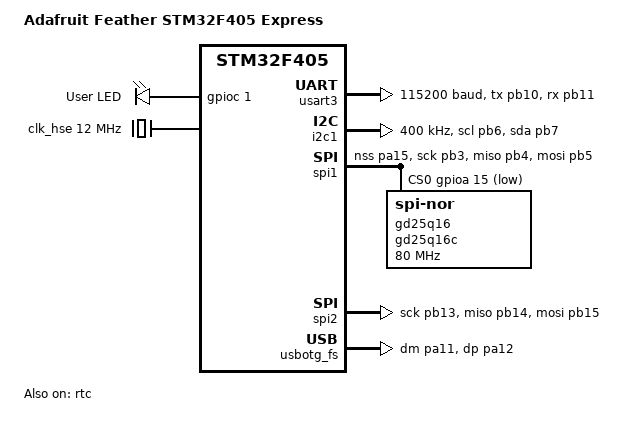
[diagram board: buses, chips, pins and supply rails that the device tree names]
/*
 * Copyright (c) 2020 Lucian Copeland for Adafruit Industries
 *
 * SPDX-License-Identifier: Apache-2.0
 */

/dts-v1/;
#include <st/f4/stm32f405Xg.dtsi>
#include <st/f4/stm32f405rgtx-pinctrl.dtsi>
#include "feather_connector.dtsi"

/ {
	model = "Adafruit Feather STM32F405 Express";
	compatible = "st,adafruit_feather_stm32f405", "st,stm32f405";

	chosen {
		zephyr,console = &usart3;
		zephyr,shell-uart = &usart3;
		zephyr,sram = &sram0;
		zephyr,flash = &flash0;
		zephyr,ccm = &ccm0;
	};

	leds {
		compatible = "gpio-leds";
		led: led {
			gpios = <&gpioc 1 GPIO_ACTIVE_HIGH>;
			label = "User LED";
		};
	};

	aliases {
		led0 = &led;
		spi-flash0 = &gd25q16;
	};
};

&clk_hse {
	clock-frequency = <DT_FREQ_M(12)>;
	status = "okay";
};

&pll {
	div-m = <12>;
	mul-n = <336>;
	div-p = <2>;
	div-q = <7>;
	clocks = <&clk_hse>;
	status = "okay";
};

&rcc {
	clocks = <&pll>;
	clock-frequency = <DT_FREQ_M(168)>;
	ahb-prescaler = <1>;
	apb1-prescaler = <4>;
	apb2-prescaler = <2>;
};

&usart3 {
	pinctrl-0 = <&usart3_tx_pb10 &usart3_rx_pb11>;
	pinctrl-names = "default";
	current-speed = <115200>;
	status = "okay";
};

&i2c1 {
	pinctrl-0 = <&i2c1_scl_pb6 &i2c1_sda_pb7>;
	pinctrl-names = "default";
	status = "okay";
	clock-frequency = <I2C_BITRATE_FAST>;
};

&spi1_nss_pa15 { slew-rate = "very-high-speed"; };

&spi1 {
	pinctrl-0 = <&spi1_nss_pa15 &spi1_sck_pb3
		     &spi1_miso_pb4 &spi1_mosi_pb5>;
	pinctrl-names = "default";
	status = "okay";
	cs-gpios = <&gpioa 15 GPIO_ACTIVE_LOW>;
	gd25q16: gd25q16c@0 {
		compatible = "jedec,spi-nor";
		reg = <0>;
		spi-max-frequency = <80000000>;
		size = <0x200000>;
		has-dpd;
		t-enter-dpd = <20000>;
		t-exit-dpd = <100000>;
		jedec-id = [c8 40 15];
	};
};

&spi2 {
	pinctrl-0 = <&spi2_sck_pb13 &spi2_miso_pb14 &spi2_mosi_pb15>;
	pinctrl-names = "default";
	status = "okay";
};

&rtc {
	status = "okay";
};

zephyr_udc0: &usbotg_fs {
	pinctrl-0 = <&usb_otg_fs_dm_pa11 &usb_otg_fs_dp_pa12>;
	pinctrl-names = "default";
	status = "okay";
};
